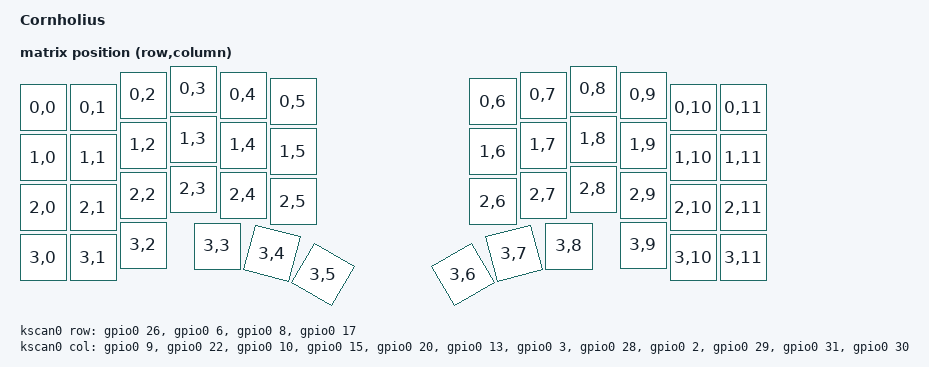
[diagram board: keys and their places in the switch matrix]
/*
 * Copyright (c) 2020 The ZMK Contributors
 *
 * SPDX-License-Identifier: MIT
 */

/dts-v1/;
#include <nordic/nrf52840_qiaa.dtsi>
#include <dt-bindings/zmk/matrix_transform.h>
#include <physical_layouts.dtsi>

/ {
	model = "Cornholius";
	compatible = "cornholius,rev_a";

	chosen {
		zephyr,code-partition = &code_partition;
		zephyr,sram = &sram0;
		zephyr,flash = &flash0;
		zmk,battery = &fuelgauge;
		zmk,physical-layout = &layout_cornholius_6col;
		zmk,kscan = &kscan0;
	};

	cornholius_transform: cornholius_transform {
		compatible = "zmk,matrix-transform";
		columns = <12>;
		rows = <4>;
		map = <
			RC(0,0)	RC(0,1)	RC(0,2)	RC(0,3)	RC(0,4)	RC(0,5)	RC(0,6)	RC(0,7)	RC(0,8)	RC(0,9)	RC(0,10) RC(0,11)
			RC(1,0)	RC(1,1)	RC(1,2)	RC(1,3)	RC(1,4)	RC(1,5)	RC(1,6)	RC(1,7)	RC(1,8)	RC(1,9)	RC(1,10) RC(1,11)
			RC(2,0)	RC(2,1)	RC(2,2)	RC(2,3)	RC(2,4)	RC(2,5)	RC(2,6)	RC(2,7)	RC(2,8)	RC(2,9)	RC(2,10) RC(2,11)
			RC(3,0)	RC(3,1)	RC(3,2)	RC(3,3)	RC(3,4)	RC(3,5)	RC(3,6)	RC(3,7)	RC(3,8)	RC(3,9)	RC(3,10) RC(3,11)
			>;
	};


	kscan0: kscan {
		compatible = "zmk,kscan-gpio-matrix";
		diode-direction = "col2row";
		row-gpios
			= <&gpio0 26 (GPIO_ACTIVE_HIGH | GPIO_PULL_DOWN)>
			, <&gpio0  6 (GPIO_ACTIVE_HIGH | GPIO_PULL_DOWN)>
			, <&gpio0  8 (GPIO_ACTIVE_HIGH | GPIO_PULL_DOWN)>
			, <&gpio0 17 (GPIO_ACTIVE_HIGH | GPIO_PULL_DOWN)>
			;
		col-gpios
			= <&gpio0  9 GPIO_ACTIVE_HIGH>
			, <&gpio0 22 GPIO_ACTIVE_HIGH>
			, <&gpio0 10 GPIO_ACTIVE_HIGH>
			, <&gpio0 15 GPIO_ACTIVE_HIGH>
			, <&gpio0 20 GPIO_ACTIVE_HIGH>
			, <&gpio0 13 GPIO_ACTIVE_HIGH>
			, <&gpio0  3 GPIO_ACTIVE_HIGH>
			, <&gpio0 28 GPIO_ACTIVE_HIGH>
			, <&gpio0  2 GPIO_ACTIVE_HIGH>
			, <&gpio0 29 GPIO_ACTIVE_HIGH>
			, <&gpio0 31 GPIO_ACTIVE_HIGH>
			, <&gpio0 30 GPIO_ACTIVE_HIGH>
			;
	};

	layout_cornholius_6col: layout_cornholius_6col {
		compatible = "zmk,physical-layout";
		display-name = "6col";

		transform = <&cornholius_transform>;

		keys  //                     w   h    x    y     rot    rx    ry
			= <&key_physical_attrs 100 100    0   37       0     0     0>
			, <&key_physical_attrs 100 100  100   37       0     0     0>
			, <&key_physical_attrs 100 100  200   12       0     0     0>
			, <&key_physical_attrs 100 100  300    0       0     0     0>
			, <&key_physical_attrs 100 100  400   12       0     0     0>
			, <&key_physical_attrs 100 100  500   25       0     0     0>
			, <&key_physical_attrs 100 100  900   25       0     0     0>
			, <&key_physical_attrs 100 100 1000   12       0     0     0>
			, <&key_physical_attrs 100 100 1100    0       0     0     0>
			, <&key_physical_attrs 100 100 1200   12       0     0     0>
			, <&key_physical_attrs 100 100 1300   37       0     0     0>
			, <&key_physical_attrs 100 100 1400   37       0     0     0>
			, <&key_physical_attrs 100 100    0  137       0     0     0>
			, <&key_physical_attrs 100 100  100  137       0     0     0>
			, <&key_physical_attrs 100 100  200  112       0     0     0>
			, <&key_physical_attrs 100 100  300  100       0     0     0>
			, <&key_physical_attrs 100 100  400  112       0     0     0>
			, <&key_physical_attrs 100 100  500  125       0     0     0>
			, <&key_physical_attrs 100 100  900  125       0     0     0>
			, <&key_physical_attrs 100 100 1000  112       0     0     0>
			, <&key_physical_attrs 100 100 1100  100       0     0     0>
			, <&key_physical_attrs 100 100 1200  112       0     0     0>
			, <&key_physical_attrs 100 100 1300  137       0     0     0>
			, <&key_physical_attrs 100 100 1400  137       0     0     0>
			, <&key_physical_attrs 100 100    0  237       0     0     0>
			, <&key_physical_attrs 100 100  100  237       0     0     0>
			, <&key_physical_attrs 100 100  200  212       0     0     0>
			, <&key_physical_attrs 100 100  300  200       0     0     0>
			, <&key_physical_attrs 100 100  400  212       0     0     0>
			, <&key_physical_attrs 100 100  500  225       0     0     0>
			, <&key_physical_attrs 100 100  900  225       0     0     0>
			, <&key_physical_attrs 100 100 1000  212       0     0     0>
			, <&key_physical_attrs 100 100 1100  200       0     0     0>
			, <&key_physical_attrs 100 100 1200  212       0     0     0>
			, <&key_physical_attrs 100 100 1300  237       0     0     0>
			, <&key_physical_attrs 100 100 1400  237       0     0     0>
			, <&key_physical_attrs 100 100    0  337       0     0     0>
			, <&key_physical_attrs 100 100  100  337       0     0     0>
			, <&key_physical_attrs 100 100  200  312       0     0     0>
			, <&key_physical_attrs 100 100  348  314       0     0     0>
			, <&key_physical_attrs 100 100  348  314    1500   398   789>
			, <&key_physical_attrs 100 100  348  314    3000   398   789>
			, <&key_physical_attrs 100 100 1052  314 (-3000)  1102   789>
			, <&key_physical_attrs 100 100 1052  314 (-1500)  1102   789>
			, <&key_physical_attrs 100 100 1052  314       0     0     0>
			, <&key_physical_attrs 100 100 1200  312       0     0     0>
			, <&key_physical_attrs 100 100 1300  337       0     0     0>
			, <&key_physical_attrs 100 100 1400  337       0     0     0>
			;
	};

	layout_cornholius_5col: layout_cornholius_5col {
		compatible = "zmk,physical-layout";
		display-name = "5col";

		transform = <&cornholius_transform>;

		keys  //                     w   h    x    y     rot    rx    ry
			= <&key_physical_attrs 100 100    0   37       0     0     0>
			, <&key_physical_attrs 100 100  100   12       0     0     0>
			, <&key_physical_attrs 100 100  200    0       0     0     0>
			, <&key_physical_attrs 100 100  300   12       0     0     0>
			, <&key_physical_attrs 100 100  400   25       0     0     0>
			, <&key_physical_attrs 100 100  800   25       0     0     0>
			, <&key_physical_attrs 100 100  900   12       0     0     0>
			, <&key_physical_attrs 100 100 1000    0       0     0     0>
			, <&key_physical_attrs 100 100 1100   12       0     0     0>
			, <&key_physical_attrs 100 100 1200   37       0     0     0>
			, <&key_physical_attrs 100 100    0  137       0     0     0>
			, <&key_physical_attrs 100 100  100  112       0     0     0>
			, <&key_physical_attrs 100 100  200  100       0     0     0>
			, <&key_physical_attrs 100 100  300  112       0     0     0>
			, <&key_physical_attrs 100 100  400  125       0     0     0>
			, <&key_physical_attrs 100 100  800  125       0     0     0>
			, <&key_physical_attrs 100 100  900  112       0     0     0>
			, <&key_physical_attrs 100 100 1000  100       0     0     0>
			, <&key_physical_attrs 100 100 1100  112       0     0     0>
			, <&key_physical_attrs 100 100 1200  137       0     0     0>
			, <&key_physical_attrs 100 100    0  237       0     0     0>
			, <&key_physical_attrs 100 100  100  212       0     0     0>
			, <&key_physical_attrs 100 100  200  200       0     0     0>
			, <&key_physical_attrs 100 100  300  212       0     0     0>
			, <&key_physical_attrs 100 100  400  225       0     0     0>
			, <&key_physical_attrs 100 100  800  225       0     0     0>
			, <&key_physical_attrs 100 100  900  212       0     0     0>
			, <&key_physical_attrs 100 100 1000  200       0     0     0>
			, <&key_physical_attrs 100 100 1100  212       0     0     0>
			, <&key_physical_attrs 100 100 1200  237       0     0     0>
			, <&key_physical_attrs 100 100    0  337       0     0     0>
			, <&key_physical_attrs 100 100  100  312       0     0     0>
			, <&key_physical_attrs 100 100  248  314       0     0     0>
			, <&key_physical_attrs 100 100  248  314    1500   298   789>
			, <&key_physical_attrs 100 100  248  314    3000   298   789>
			, <&key_physical_attrs 100 100  952  314 (-3000)  1002   789>
			, <&key_physical_attrs 100 100  952  314 (-1500)  1002   789>
			, <&key_physical_attrs 100 100  952  314       0     0     0>
			, <&key_physical_attrs 100 100 1100  312       0     0     0>
			, <&key_physical_attrs 100 100 1200  337       0     0     0>
			;
	};


	cornholius_position_map: cornholius_position_map {
		compatible = "zmk,physical-layout-position-map";

		layout_cornholius_6col {
			physical-layout = <&layout_cornholius_6col>;

			positions
				= < 0  1  2  3  4  5  6  7  8  9 10 11>
				, <12 13 14 15 16 17 18 19 20 21 22 23>
				, <24 25 26 27 28 29 30 31 32 33 34 35>
				, <36 37 38 39 40 41 42 43 44 45 46 47>;
		};

		layout_cornholius_5col {
			physical-layout = <&layout_cornholius_5col>;

			positions
				= <47 0  1  2  3  4  5  6  7  8  9  46>
				, <45 10 11 12 13 14 15 16 17 18 19 44>
				, <43 20 21 22 23 24 25 26 27 28 29 42>
				, <41 30 31 32 33 34 35 36 37 38 39 40>;
		};
	};
};

&gpio0 {
	status = "okay";
};

&gpio1 {
	status = "okay";
};

zephyr_udc0: &usbd {
	status = "okay";
};

&pinctrl {
	i2c0_default: i2c0_default {
		group1 {
			psels = <NRF_PSEL(TWIM_SDA, 0, 5)>,
				<NRF_PSEL(TWIM_SCL, 1, 9)>;
		};
	};

	i2c0_sleep: i2c0_sleep {
		group1 {
			psels = <NRF_PSEL(TWIM_SDA, 0, 5)>,
				<NRF_PSEL(TWIM_SCL, 1, 9)>;
			low-power-enable;
		};
	};
};

&i2c0 {
	status = "okay";
	compatible = "nordic,nrf-twim";
	pinctrl-0 = <&i2c0_default>;
	pinctrl-1 = <&i2c0_sleep>;
	pinctrl-names = "default", "sleep";
	clock-frequency = <100000>;

	fuelgauge: max17048@36 {
		compatible = "zmk,maxim-max17048";
		reg = <0x36>;
	};
};

&flash0 {
	/*
	 * For more information, see:
	 * http://docs.zephyrproject.org/latest/devices/dts/flash_partitions.html
	 */
	partitions {
		compatible = "fixed-partitions";
		#address-cells = <1>;
		#size-cells = <1>;

		sd_partition: partition@0 {
			label = "softdevice";
			reg = <0x00000000 0x00026000>;
		};
		code_partition: partition@26000 {
			label = "code_partition";
			reg = <0x00026000 0x000c6000>;
		};

		/*
		 * The flash starting at 0x000ec000 and ending at
		 * 0x000f3fff is reserved for use by the application.
		 */

		/*
		 * Storage partition will be used by FCB/LittleFS/NVS
		 * if enabled.
		 */
		storage_partition: partition@ec000 {
			label = "storage";
			reg = <0x000ec000 0x00008000>;
		};

		boot_partition: partition@f4000 {
			label = "adafruit_boot";

			reg = <0x000f4000 0x0000c000>;
		};
	};
};
